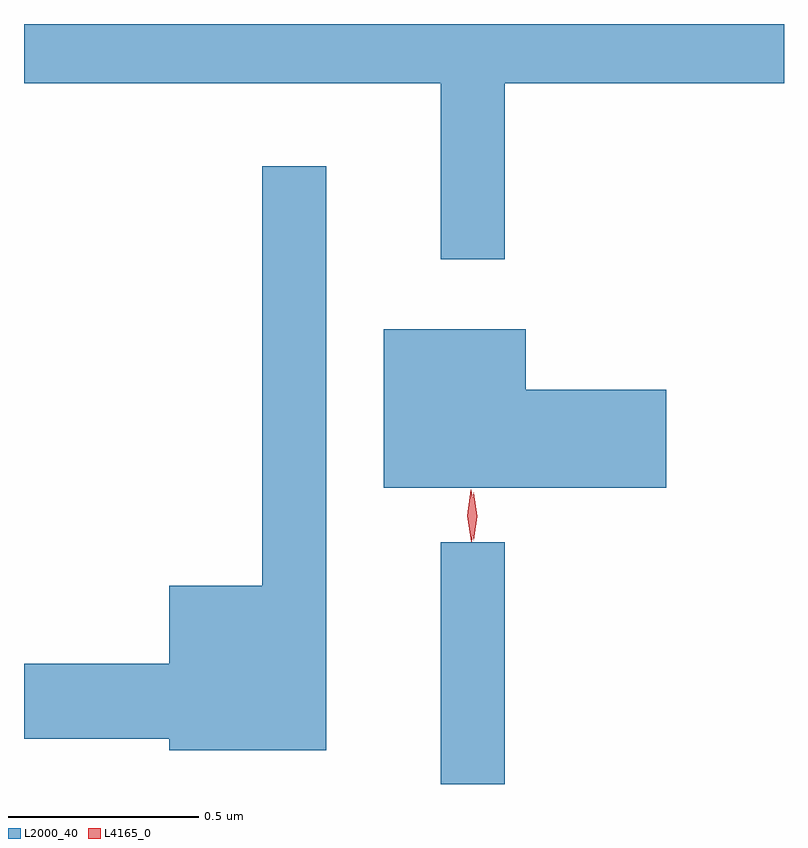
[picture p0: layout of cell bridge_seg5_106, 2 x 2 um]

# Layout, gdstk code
import gdstk
lib = gdstk.Library(unit=1e-6, precision=1e-09)
def R(c, l, rs):  # rectangles x0, y0, x1, y1
    for r in rs: c.add(gdstk.rectangle(r[:2], r[2:], *l))
def P(c, l, *ps):  # polygons
    for p in ps: c.add(gdstk.Polygon(p, *l))
L2000_40 = (2000, 40)
L4165_0 = (4165, 0)

bridge_seg5_106 = lib.new_cell('bridge_seg5_106')
R(bridge_seg5_106, L2000_40, [(1159.141,1479.372,1159.309,1480.008)])
P(bridge_seg5_106, L2000_40, [(1159.309,1481.216),(1160.044,1481.216),(1160.044,1481.372),(1158.044,1481.372),(1158.044,1481.216),(1159.141,1481.216),(1159.141,1480.753),(1159.309,1480.753)],
  [(1158.839,1480.998),(1158.671,1480.998),(1158.671,1479.894),(1158.426,1479.894),(1158.426,1479.689),(1158.044,1479.689),(1158.044,1479.491),(1158.426,1479.491),(1158.426,1479.461),(1158.839,1479.461)],
  [(1159.734,1480.409),(1159.364,1480.409),(1159.364,1480.569),(1158.991,1480.569),(1158.991,1480.151),(1159.734,1480.151)])
P(bridge_seg5_106, L4165_0, [(1159.227,1480.013),(1159.227,1480.013),(1159.217,1480.076),(1159.227,1480.139),(1159.227,1480.14),(1159.228,1480.139),(1159.237,1480.076),(1159.228,1480.013)],
  [(1159.221,1480.01),(1159.211,1480.078),(1159.22,1480.146),(1159.22,1480.146),(1159.221,1480.146),(1159.231,1480.078),(1159.222,1480.01),(1159.222,1480.01)])

lib.write_gds('bridge_seg5_106.gds')
